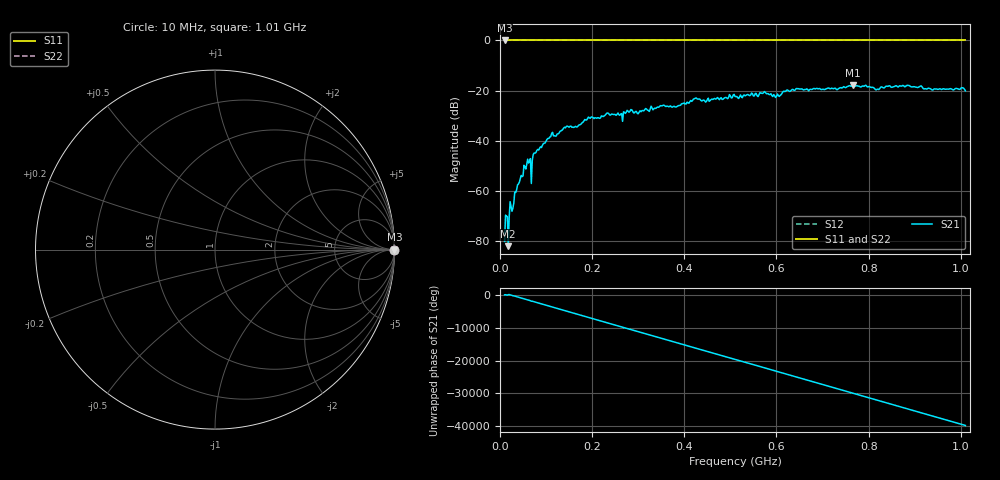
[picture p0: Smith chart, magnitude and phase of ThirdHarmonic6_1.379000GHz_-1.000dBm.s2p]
! 8/16/2025 3:39:54 PM
! C:\ANRITSUVNA\TEMP\TEMP.S2P
! CHANNEL.1
! TR.MEASUREMENT
! RAW.DATA
! RF.CORRECTION.OFF
! AVERAGING.OFF
! IF.BANDWIDTH: 5KHZ
! SWEEPTYPE:  FREQ.SWEEP(Linear)
! Reference Plane Port Info
! PORT:  PORT1  PORT2
! DISTANCE:  0  m  0  m
! TIME:  0  s  0  s
! PHASE.OFFSET:  0  deg.  0  deg.
! LOSS:  0  dB  0  dB
! REF.LOSS:  0  dB  0  dB
! REF.FREQ:  0  Hz  0  Hz
! Power Info
! POWER:  -20  dBm  -20  dBm
! EFF.POWER:  -20  dBm  -20  dBm
! SOURCE.ATTEN:  0  dB  0  dB
! TEST.ATTEN:  0  dB  0  dB
# GHZ S RI R 50.0
! FREQ.GHZ  S11RE  S11IM  S21RE  S21IM  S12RE  S12IM  S22RE  S22IM
!; PortSelection: Port_12
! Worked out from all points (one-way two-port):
!   501 points, 10 MHz to 1.01 GHz, reference 50 ohm
!   highest |S21| = -17.76 dB at 766 MHz (marker M1); lowest = -82.1 dB at 18 MHz (marker M2)
!   lowest |S11| = 0.0 dB at 10 MHz (marker M3)
!   |S11| at or under -10 dB: nowhere
!   |S22| runs from 0.0 to 0.0 dB; largest |S21 - S12| = 1.1
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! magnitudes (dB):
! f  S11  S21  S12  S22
! 10 MHz  0.0  -80.2  0.0  0.0
! 18 MHz  0.0  -82.1  0.0  0.0
! 22 MHz  0.0  -64.4  0.0  0.0
! 36 MHz  0.0  -59.7  0.0  0.0
! 56 MHz  0.0  -51.3  0.0  0.0
! 62 MHz  0.0  -49.0  0.0  0.0
! 66 MHz  0.0  -47.2  0.0  0.0
! 76 MHz  0.0  -45.0  0.0  0.0
! 110 MHz  0.0  -38.4  0.0  0.0
! 178 MHz  0.0  -32.9  0.0  0.0
! 232 MHz  0.0  -29.0  0.0  0.0
! 262 MHz  0.0  -29.4  0.0  0.0
! 344 MHz  0.0  -26.7  0.0  0.0
! 510 MHz  0.0  -22.3  0.0  0.0
! 572 MHz  0.0  -20.8  0.0  0.0
! 602 MHz  0.0  -21.4  0.0  0.0
! 620 MHz  0.0  -20.3  0.0  0.0
! 678 MHz  0.0  -19.5  0.0  0.0
! 766 MHz  0.0  -17.8  0.0  0.0
! 818 MHz  0.0  -19.5  0.0  0.0
! 844 MHz  0.0  -18.1  0.0  0.0
! 1.01 GHz  0.0  -20.1  0.0  0.0
